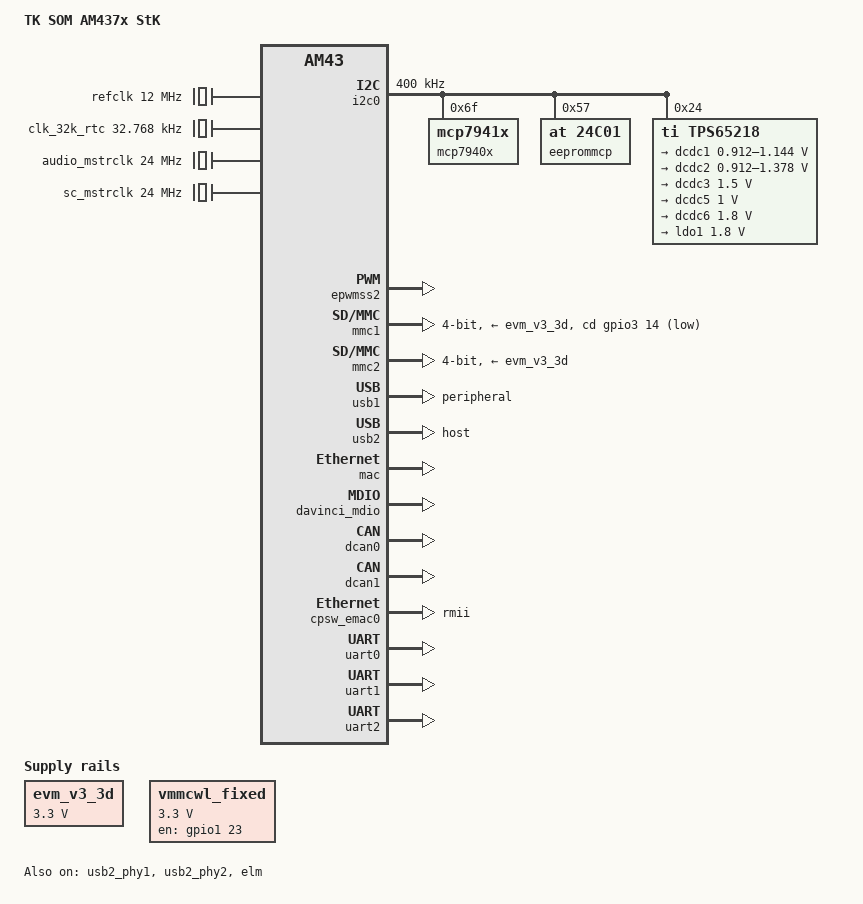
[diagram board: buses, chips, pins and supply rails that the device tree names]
/*
 * Copyright (C) 2018 Technokom Incorporated - http://www.tk-nav.ru
 *
 * This program is free software; you redistribute it and/or modify
 * it under the terms of the GNU General Public License version 2 as
 * published by the Free Software Foundation.
 */

/* TK SOM AM437x StK */

/dts-v1/;

#include "am4372.dtsi"
#include <dt-bindings/pinctrl/am43xx.h>
#include <dt-bindings/pwm/pwm.h>
#include <dt-bindings/gpio/gpio.h>
#include <dt-bindings/input/input.h>

/ {
	model = "TK SOM AM437x StK";
	compatible = "technokom,am437x-stk","ti,am4372","ti,am43";

	aliases {

	};

	evm_v3_3d: fixedregulator-v3_3d {
		compatible = "regulator-fixed";
		regulator-name = "evm_v3_3d";
		regulator-min-microvolt = <3300000>;
		regulator-max-microvolt = <3300000>;
		enable-active-high;
	};


	vmmcwl_fixed: fixedregulator-mmcwl {
		compatible = "regulator-fixed";
		regulator-name = "vmmcwl_fixed";
		regulator-min-microvolt = <3300000>;
		regulator-max-microvolt = <3300000>;
		gpio = <&gpio1 23 GPIO_ACTIVE_HIGH>;
		enable-active-high;
	};

	/* fixed 12MHz oscillator */
	refclk: oscillator {
		#clock-cells = <0>;
		compatible = "fixed-clock";
		clock-frequency = <12000000>;
	};

	/* fixed 32k external oscillator clock */
	clk_32k_rtc: clk_32k_rtc {
		#clock-cells = <0>;
		compatible = "fixed-clock";
		clock-frequency = <32768>;
	};

	audio_mstrclk: mclk_osc {
		compatible = "fixed-clock";
		#clock-cells = <0>;
		clock-frequency = <24000000>;
	};

	sc_mstrclk: mclk_osc {
		compatible = "fixed-clock";
		#clock-cells = <0>;
		clock-frequency = <24000000>;
	};

};

&am43xx_pinmux {
	pinctrl-names = "default", "sleep";

	dcan0_default: dcan0_default_pins {
		pinctrl-single,pins = <
			AM4372_IOPAD(0x91c, PIN_OUTPUT | MUX_MODE1)		/* (C16) mii1_txd3.dcan0_tx */
			AM4372_IOPAD(0x920, PIN_INPUT_PULLUP | MUX_MODE1)	/* (C13) mii1_txd2.dcan0_rx */
		>;
	};

	dcan0_sleep: dcan0_sleep_pins {
		pinctrl-single,pins = <
			AM4372_IOPAD(0x91c, PIN_INPUT_PULLUP | MUX_MODE7)	/* (C16) mii1_txd3 */
			AM4372_IOPAD(0x920, PIN_INPUT_PULLUP | MUX_MODE7)	/* (C13) mii1_txd2 */
		>;
	};

	dcan1_default: dcan1_default_pins {
		pinctrl-single,pins = <
			AM4372_IOPAD(0x980, PIN_OUTPUT | MUX_MODE2)		/* uart1_rxd.d_can1_tx */
			AM4372_IOPAD(0x984, PIN_INPUT_PULLUP | MUX_MODE2)	/* uart1_txd.d_can1_rx */
		>;
	};

	dcan1_sleep: dcan1_sleep_pins {
		pinctrl-single,pins = <
			AM4372_IOPAD(0x980, PIN_INPUT_PULLUP | MUX_MODE7)	/* uart1_rxd.gpio0_14 */
			AM4372_IOPAD(0x984, PIN_INPUT_PULLUP | MUX_MODE7)	/* uart1_txd.gpio0_15 */
		>;
	};

    gpio5_input_pins_default: pinmux_gpio5_input_pins_default {
		pinctrl-single,pins = <
            AM4372_IOPAD(0xA4c, PIN_INPUT_PULLUP | MUX_MODE7) /* (E24) gpio5_13.gpio5[13] */
		    AM4372_IOPAD(0xA74, PIN_INPUT_PULLUP | MUX_MODE9) /* (C24) xdma_event_intr1.gpio5[29] */
		>;
    };


    gpio0_output_pins_default: pinmux_gpio0_output_pins_default {
		pinctrl-single,pins = <
            AM4372_IOPAD(0xa78, PIN_OUTPUT_PULLDOWN | MUX_MODE7 ) /* (H20) clkreq.gpio0[24] */
		>;
    };


    gpio3_output_pins_default: pinmux_gpio3_output_pins_default {
		pinctrl-single,pins = <
            AM4372_IOPAD(0x998, PIN_OUTPUT_PULLDOWN | MUX_MODE7 ) /* (H23) mcasp0_axr0.gpio3[16] */
		>;
    };


	i2c0_pins: i2c0_pins {
		pinctrl-single,pins = <
			AM4372_IOPAD(0x988, PIN_INPUT_PULLUP | SLEWCTRL_FAST | MUX_MODE0)  /* i2c0_sda.i2c0_sda */
			AM4372_IOPAD(0x98c, PIN_INPUT_PULLUP | SLEWCTRL_FAST | MUX_MODE0)  /* i2c0_scl.i2c0_scl */
		>;
	};

	mmc0_pins: pinmux_mmc0_pins {
		pinctrl-single,pins = <
			AM4372_IOPAD(0x900, PIN_INPUT_PULLUP | MUX_MODE0) /* mmc0_clk.mmc0_clk */
			AM4372_IOPAD(0x904, PIN_INPUT_PULLUP | MUX_MODE0) /* mmc0_cmd.mmc0_cmd */
			AM4372_IOPAD(0x8f0, PIN_INPUT_PULLUP | MUX_MODE0) /* mmc0_dat0.mmc0_dat0 */
			AM4372_IOPAD(0x8f4, PIN_INPUT_PULLUP | MUX_MODE0) /* mmc0_dat1.mmc0_dat1 */
			AM4372_IOPAD(0x8f8, PIN_INPUT_PULLUP | MUX_MODE0) /* mmc0_dat2.mmc0_dat2 */
			AM4372_IOPAD(0x8fc, PIN_INPUT_PULLUP | MUX_MODE0) /* mmc0_dat3.mmc0_dat3 */
			AM4372_IOPAD(0x990, PIN_INPUT | MUX_MODE7) 
		>;
	};

	mmc0_sleep_pins: pinmux_mmc0_sleep_pins {
		pinctrl-single,pins = <
			AM4372_IOPAD(0x900, PIN_INPUT_PULLDOWN | MUX_MODE7)
			AM4372_IOPAD(0x904, PIN_INPUT | PULL_DISABLE | MUX_MODE7)
			AM4372_IOPAD(0x8f0, PIN_INPUT | PULL_DISABLE | MUX_MODE7)
			AM4372_IOPAD(0x8f4, PIN_INPUT | PULL_DISABLE | MUX_MODE7)
			AM4372_IOPAD(0x8f8, PIN_INPUT | PULL_DISABLE | MUX_MODE7)
			AM4372_IOPAD(0x8fc, PIN_INPUT | PULL_DISABLE | MUX_MODE7)
			AM4372_IOPAD(0x990, PIN_INPUT | PULL_DISABLE | MUX_MODE7)
		>;
	};


	cpsw_default: cpsw_default {
		pinctrl-single,pins = <
			AM4372_IOPAD(0x90c, PIN_INPUT_PULLUP | MUX_MODE1 ) /* (B14) mii1_crs.rmii1_crs_dv */
			AM4372_IOPAD(0x910, PIN_INPUT_PULLUP | MUX_MODE1 ) /* (B13) mii1_rx_er.rmii1_rxer */
			AM4372_IOPAD(0x914, PIN_OUTPUT_PULLDOWN | MUX_MODE1 ) /* (A13) mii1_tx_en.rmii1_txen */
			AM4372_IOPAD(0x928, PIN_OUTPUT_PULLDOWN | MUX_MODE1 ) /* (B15) mii1_txd0.rmii1_txd0 */
			AM4372_IOPAD(0x924, PIN_OUTPUT_PULLDOWN | MUX_MODE1 ) /* (A14) mii1_txd1.rmii1_txd1 */
			AM4372_IOPAD(0x940, PIN_INPUT | MUX_MODE1 ) /* (F17) mii1_rxd0.rmii1_rxd0 */
			AM4372_IOPAD(0x93c, PIN_INPUT | MUX_MODE1 ) /* (B16) mii1_rxd1.rmii1_rxd1 */
			AM4372_IOPAD(0x944, PIN_INPUT_PULLUP | MUX_MODE0 ) /* (A16) rmii1_ref_clk.rmii1_refclk */

		>;
	};

	cpsw_sleep: cpsw_sleep {
		pinctrl-single,pins = <
			AM4372_IOPAD(0x90c, PIN_INPUT_PULLDOWN | MUX_MODE7 )
			AM4372_IOPAD(0x910, PIN_INPUT_PULLDOWN | MUX_MODE7 )
			AM4372_IOPAD(0x914, PIN_INPUT_PULLDOWN | MUX_MODE7 )
			AM4372_IOPAD(0x928, PIN_INPUT_PULLDOWN | MUX_MODE7 )
			AM4372_IOPAD(0x924, PIN_INPUT_PULLDOWN | MUX_MODE7 )
			AM4372_IOPAD(0x940, PIN_INPUT_PULLDOWN | MUX_MODE7 )
			AM4372_IOPAD(0x93c, PIN_INPUT_PULLDOWN | MUX_MODE7 )
			AM4372_IOPAD(0x944, PIN_INPUT_PULLDOWN | MUX_MODE7 )
		>;
	};

	davinci_mdio_default: davinci_mdio_default {
		pinctrl-single,pins = <
			/* MDIO */
			AM4372_IOPAD(0x948, PIN_INPUT_PULLUP | SLEWCTRL_FAST | MUX_MODE0)	/* mdio_data.mdio_data */
			AM4372_IOPAD(0x94c, PIN_OUTPUT_PULLUP | MUX_MODE0)			/* mdio_clk.mdio_clk */
		>;
	};

	davinci_mdio_sleep: davinci_mdio_sleep {
		pinctrl-single,pins = <
			/* MDIO reset value */
			AM4372_IOPAD(0x948, PIN_INPUT | PULL_DISABLE | MUX_MODE7)
			AM4372_IOPAD(0x94c, PIN_INPUT | PULL_DISABLE | MUX_MODE7)
		>;
	};
	


	mmc1_pins_default: mmc1_pins_default {
		pinctrl-single,pins = <
		    AM4372_IOPAD(0x880, PIN_INPUT_PULLUP | MUX_MODE2 ) /* (B9) gpmc_csn1.mmc1_clk */
		    AM4372_IOPAD(0x884, PIN_INPUT_PULLUP | MUX_MODE2 ) /* (F10) gpmc_csn2.mmc1_cmd */
		    AM4372_IOPAD(0x820, PIN_INPUT_PULLUP | MUX_MODE2 ) /* (B10) gpmc_ad8.mmc1_dat0 */
		    AM4372_IOPAD(0x824, PIN_INPUT_PULLUP | MUX_MODE2 ) /* (A10) gpmc_ad9.mmc1_dat1 */
		    AM4372_IOPAD(0x828, PIN_INPUT_PULLUP | MUX_MODE2 ) /* (F11) gpmc_ad10.mmc1_dat2 */
		    AM4372_IOPAD(0x82c, PIN_INPUT_PULLUP | MUX_MODE2 ) /* (D11) gpmc_ad11.mmc1_dat3 */
		>;
	};

	mmc1_pins_sleep: mmc1_pins_sleep {
		pinctrl-single,pins = <
		    AM4372_IOPAD(0x880, PIN_INPUT_PULLDOWN | MUX_MODE7 ) /* (B9) gpmc_csn1.mmc1_clk */
		    AM4372_IOPAD(0x884, PIN_INPUT_PULLDOWN | MUX_MODE7 ) /* (F10) gpmc_csn2.mmc1_cmd */
		    AM4372_IOPAD(0x820, PIN_INPUT_PULLDOWN | MUX_MODE7 ) /* (B10) gpmc_ad8.mmc1_dat0 */
		    AM4372_IOPAD(0x824, PIN_INPUT_PULLDOWN | MUX_MODE7 ) /* (A10) gpmc_ad9.mmc1_dat1 */
		    AM4372_IOPAD(0x828, PIN_INPUT_PULLDOWN | MUX_MODE7 ) /* (F11) gpmc_ad10.mmc1_dat2 */
		    AM4372_IOPAD(0x82c, PIN_INPUT_PULLDOWN | MUX_MODE7 ) /* (D11) gpmc_ad11.mmc1_dat3 */
		>;
	};

	uart1_pins: uart1_pins {
		pinctrl-single,pins = <
			AM4372_IOPAD(0x9e8, PIN_INPUT_PULLUP | MUX_MODE1 ) /* (AB20) cam1_data0.uart1_rxd */
			AM4372_IOPAD(0x9ec, PIN_OUTPUT_PULLDOWN | MUX_MODE1 ) /* (AC21) cam1_data1.uart1_txd */
		>;
	};

    uart2_pins: uart2_pins {
        pinctrl-single,pins = <
		    AM4372_IOPAD(0x92c, PIN_INPUT_PULLUP | MUX_MODE1 ) /* (D14) mii1_tx_clk.uart2_rxd */
    		AM4372_IOPAD(0x930, PIN_OUTPUT_PULLDOWN | MUX_MODE1 ) /* (D13) mii1_rx_clk.uart2_txd */
    		AM4372_IOPAD(0x860,  PIN_OUTPUT_PULLDOWN | MUX_MODE7 ) /* (F7) gpmc_a8.gpio1[24] */
	    >;
    };


	uart0_pins_default: uart0_pins_default {
		pinctrl-single,pins = <
			AM4372_IOPAD(0x970, PIN_INPUT_PULLUP | SLEWCTRL_FAST | DS0_PULL_UP_DOWN_EN | MUX_MODE0) /* uart0_rxd.uart0_rxd */
			AM4372_IOPAD(0x974, PIN_INPUT | PULL_DISABLE | SLEWCTRL_FAST | DS0_PULL_UP_DOWN_EN | MUX_MODE0) /* uart0_txd.uart0_txd */
		>;
	};

	uart0_pins_sleep: uart0_pins_sleep {
		pinctrl-single,pins = <
			AM4372_IOPAD(0x970, PIN_INPUT_PULLUP | SLEWCTRL_FAST | DS0_PULL_UP_DOWN_EN | MUX_MODE0) /* uart0_rxd.uart0_rxd */
			AM4372_IOPAD(0x974, PIN_INPUT_PULLDOWN | SLEWCTRL_FAST | DS0_PULL_UP_DOWN_EN | MUX_MODE0) /* uart0_txd.uart0_txd */
		>;
	};

};

&i2c0 {
	status = "okay";
	pinctrl-names = "default";
	pinctrl-0 = <&i2c0_pins>;
	clock-frequency = <400000>;
    
    mcp7940x: mcp7940x@6f {
		compatible = "mcp7941x";
		reg = <0x6f>;
    };

    eeprommcp: eeprommcp@57 {
        compatible = "at,24c01";
        reg = <0x57>;
        read-only;
        pagesize = <8>;
    };

	tps65218: tps65218@24 {
		reg = <0x24>;
		compatible = "ti,tps65218";
		interrupts = <GIC_SPI 7 IRQ_TYPE_NONE>; /* NMIn */
		interrupt-controller;
		#interrupt-cells = <2>;

		dcdc1: regulator-dcdc1 {
			compatible = "ti,tps65218-dcdc1";
			regulator-name = "vdd_core";
			regulator-min-microvolt = <912000>;
			regulator-max-microvolt = <1144000>;
			regulator-boot-on;
			regulator-always-on;
		};

		dcdc2: regulator-dcdc2 {
			compatible = "ti,tps65218-dcdc2";
			regulator-name = "vdd_mpu";
			regulator-min-microvolt = <912000>;
			regulator-max-microvolt = <1378000>;
			regulator-boot-on;
			regulator-always-on;
		};

		dcdc3: regulator-dcdc3 {
			compatible = "ti,tps65218-dcdc3";
			regulator-name = "vdcdc3";
			regulator-min-microvolt = <1500000>;
			regulator-max-microvolt = <1500000>;
			regulator-boot-on;
			regulator-always-on;
			regulator-state-mem {
				regulator-on-in-suspend;
			};
			regulator-state-disk {
				regulator-off-in-suspend;
			};
		};

		dcdc5: regulator-dcdc5 {
			compatible = "ti,tps65218-dcdc5";
			regulator-name = "v1_0bat";
			regulator-min-microvolt = <1000000>;
			regulator-max-microvolt = <1000000>;
			regulator-boot-on;
			regulator-always-on;
			regulator-state-mem {
				regulator-on-in-suspend;
			};
		};

		dcdc6: regulator-dcdc6 {
			compatible = "ti,tps65218-dcdc6";
			regulator-name = "v1_8bat";
			regulator-min-microvolt = <1800000>;
			regulator-max-microvolt = <1800000>;
			regulator-boot-on;
			regulator-always-on;
			regulator-state-mem {
				regulator-on-in-suspend;
			};
		};

		ldo1: regulator-ldo1 {
			compatible = "ti,tps65218-ldo1";
			regulator-min-microvolt = <1800000>;
			regulator-max-microvolt = <1800000>;
			regulator-boot-on;
			regulator-always-on;
		};
	};

};


&epwmss2	 {
	status = "okay";
};

&gpio0 {
	status = "okay";
	pinctrl-0 = <&gpio0_output_pins_default>;
};

&gpio1 {
	status = "okay";
};

&gpio2 {
	status = "okay";
};

&gpio3 {
	status = "okay";
	pinctrl-0 = <&gpio3_output_pins_default>;
};

&gpio4 {
	status = "okay";
};

&gpio5 {
	status = "okay";
	pinctrl-0 = <&gpio5_input_pins_default>;
};

&mmc1 {
	status = "okay";
	vmmc-supply = <&evm_v3_3d>;
	bus-width = <4>;
	pinctrl-names = "default", "sleep";
	pinctrl-0 = <&mmc0_pins>;
	pinctrl-1 = <&mmc0_sleep_pins>;
	cd-gpios = <&gpio3 14 GPIO_ACTIVE_LOW>;
};

&mmc2 {
	status = "ok";
	bus-width = <4>;
	vmmc-supply = <&evm_v3_3d>;
	pinctrl-names = "default";
	pinctrl-0 = <&mmc1_pins_default>;
	ti,non-removable;
};

&usb2_phy1 {
	status = "okay";
};

&usb1 {
	dr_mode = "peripheral";
	status = "okay";
};

&usb2_phy2 {
	status = "okay";
};

&usb2 {
	dr_mode = "host";
	status = "okay";
};

&mac {
	slaves = <1>;
	pinctrl-names = "default", "sleep";
	pinctrl-0 = <&cpsw_default>;
	pinctrl-1 = <&cpsw_sleep>;
	status = "okay";
};

&davinci_mdio {
	pinctrl-names = "default", "sleep";
	pinctrl-0 = <&davinci_mdio_default>;
	pinctrl-1 = <&davinci_mdio_sleep>;
	status = "okay";
};

&dcan0 {
	pinctrl-names = "default", "sleep";
	pinctrl-0 = <&dcan0_default>;
	pinctrl-1 = <&dcan0_sleep>;
	status = "okay";
};

&dcan1 {
	pinctrl-names = "default", "sleep";
	pinctrl-0 = <&dcan1_default>;
	pinctrl-1 = <&dcan1_sleep>;
	status = "okay";
};

&cpsw_emac0 {
	phy_id = <&davinci_mdio>, <7>;
	phy-mode = "rmii";
};

&phy_sel {
	rmii-clock-ext;
};

&elm {
	status = "okay";
};


&uart0 {
	status = "okay";
	pinctrl-names = "default", "sleep";
	pinctrl-0 = <&uart0_pins_default>;
	pinctrl-1 = <&uart0_pins_sleep>;
};

&uart1 {
	status = "okay";
	pinctrl-names = "default";
	pinctrl-0 = <&uart1_pins>;
};


&uart2 {
    compatible = "ti,omap2-uart-legacy";
	status = "okay";
	pinctrl-names = "default";
	pinctrl-0 = <&uart2_pins>;
    rts-gpio = <&gpio1 24 GPIO_ACTIVE_HIGH>;
    rs485-rts-active-high;
    rs485-rts-delay = <0 0>;
    linux,rs485-enabled-at-boot-time;
};


/*&rtc {
	clocks = <&clk_32k_rtc>, <&clk_32768_ck>;
	clock-names = "ext-clk", "int-clk";
	status = "okay";
};*/

&wkup_m3_ipc {
	ti,set-io-isolation;
	ti,scale-data-fw = "am43x-evm-scale-data.bin";
};

&cpu {
	cpu0-supply = <&dcdc2>;
};
